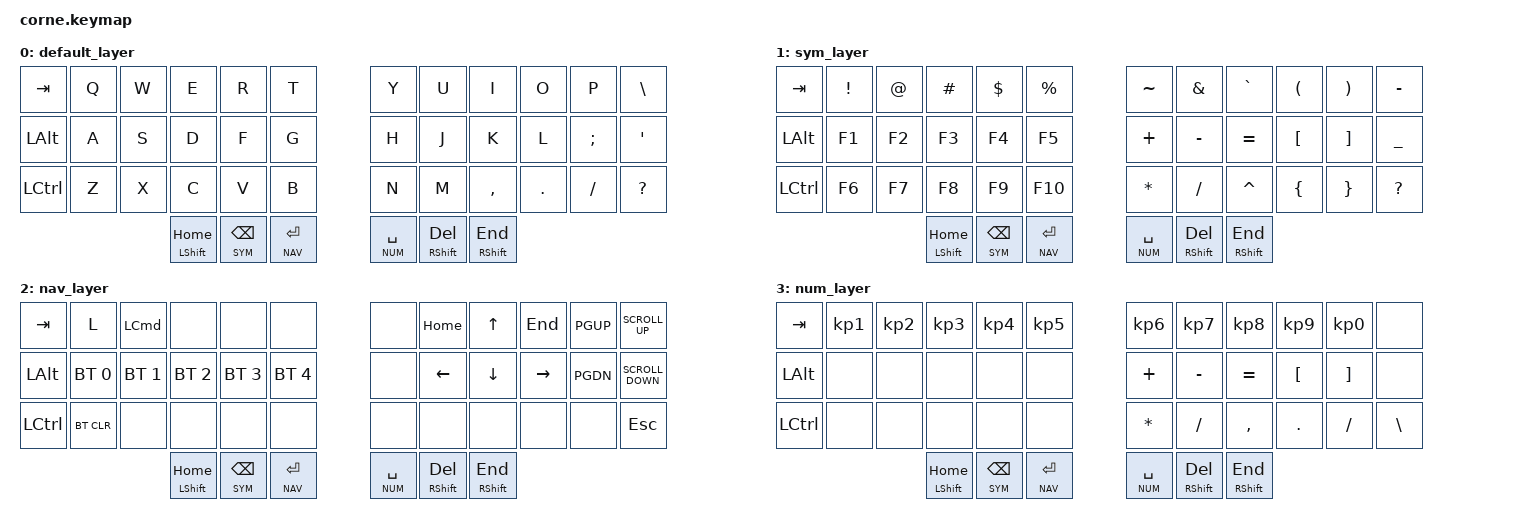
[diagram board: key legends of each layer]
/*
 * Copyright (c) 2020 The ZMK Contributors
 *
 * SPDX-License-Identifier: MIT
 */

#include <behaviors.dtsi>
#include <dt-bindings/zmk/keys.h>
#include <dt-bindings/zmk/bt.h>

// LAYERS
#define DEFAULT 0
#define SYM     1
#define NAV     2
#define NUM     3

&mt {
  tapping-term-ms = <150>;
  flavor = "tap-preferred";
};


// -----------------------------------------------------------------------------------------
// | 0  |  1   |  2   |  3   |  4   |  5  |      |  6  |  7   |  8  |  9  |  10  | 11 |
// | 12 |  13  |  14  |  15  |  16  |  17 |      |  18 |  19  |  20 |  21 |  22  | 23 |
// | 24 |  25  |  26  |  27  |  28  |  29 |      |  30 |  31  |  32 |  33 |  34  | 35 |
//                    | 36   |  37  |  38 |      |  39 |  40  |  41 |

/ {
    combos {
        compatible = "zmk,combos";
    };
};

/ {
        keymap {
                compatible = "zmk,keymap";

                default_layer {
// -----------------------------------------------------------------------------------------
// | TAB  |  Q  |  W  |  E  |  R  |  T  |   |  Y  |  U   |  I  |  O  |  P  | \ |
// | ALT  |  A  |  S  |  D  |  F  |  G  |   |  H  |  J   |  K  |  L  |  ;  |  '   |
// | CTRL |  Z  |  X  |  C  |  V  |  B  |   |  N  |  M   |  ,  |  .  |  /  | ESC  |
//                    | HOM | TAB | RET |   | SPC | BSPC | END |
                        bindings = <
   &kp TAB    &kp Q &kp W &kp E &kp R &kp T       &kp Y &kp U  &kp I     &kp O   &kp P    &kp BSLH
   &kp LALT   &kp A &kp S &kp D &kp F &kp G       &kp H &kp J  &kp K     &kp L   &kp SEMI &kp SQT
   &kp LCTRL  &kp Z &kp X &kp C &kp V &kp B       &kp N &kp M  &kp COMMA &kp DOT &kp FSLH &kp QMARK 
   &mt LSHFT HOME &lt SYM BSPC  &lt NAV RET     &lt NUM SPACE &mt RSHFT DEL &mt RSHFT END 
                        >;
                };

                sym_layer {
// -----------------------------------------------------------------------------------------
// | TAB  |  !  |  @  |  #  |  $  |  %  |   |  ~  |  &  |  `  |  (  |  )  |  -  |
// | ALT  | F1  | F2  |  F3 |  F4 |  F5 |   |  +  |  -  |  =  |  [  |  ]  |  _  |
// | CTRL | F6  | F7  |  F8 |  F9 | F10|    |  *  |  /  |  ^  |  {  |  }  | esc |
//                    | HOM | TAB | RET |   | SPC | BSPC | END |
                        bindings = <
   &kp TAB    &kp EXCL &kp AT    &kp HASH &kp DOLLAR  &kp PERCENT      &kp TILDE &kp AMPS  &kp GRAVE  &kp LPAR &kp RPAR &kp MINUS 
   &kp LALT   &kp F1   &kp F2    &kp F3   &kp F4      &kp F5           &kp PLUS  &kp MINUS &kp EQUAL  &kp LBKT &kp RBKT &kp UNDERSCORE 
   &kp LCTRL  &kp F6   &kp F7    &kp F8   &kp F9      &kp F10          &kp ASTRK &kp SLASH &kp CARET  &kp LBRC &kp RBRC &kp QMARK  
   &mt LSHFT HOME &lt SYM BSPC  &lt NAV RET     &lt NUM SPACE &mt RSHFT DEL &mt RSHFT END 
                        >;
                };

                nav_layer {
// -----------------------------------------------------------------------------------------
// | TAB  |   &bp BT_CLR   |                |              |               |                |      |  ^  |  HOME  |  UP   |  END   |  PG_UP  | SCROLL_DN |
// | ALT  |   &bt BT_SEL 0 |  &bt BT_SEL 1  | &bt BT_SEL 2 | &bt BT_SEL 3  |  &bt BT_SEL 4  |      |     |  LEFT  |  DOWN |  RIGHT |  PG_DN  | SCROLL_UP |
// | CTRL |                |                |              |               |                |      |     |        |       |        |         | ESC      |
//                    | HOM | TAB | RET |   | SPC | BSPC | END |
                        bindings = <
   &kp TAB   &kp L         &kp LCMD       &none        &none        &none           &none  &kp HOME  &kp UP   &kp END   &kp PGUP  &kp K_SCROLL_UP 
   &kp LALT  &bt BT_SEL 0  &bt BT_SEL 1   &bt BT_SEL 2 &bt BT_SEL 3 &bt BT_SEL 4    &none  &kp LEFT  &kp DOWN &kp RIGHT &kp PGDN  &kp K_SCROLL_DOWN
   &kp LCTRL &bt BT_CLR    &none          &none        &none        &none           &none  &none     &none    &none     &none     &kp ESC 
   &mt LSHFT HOME &lt SYM BSPC  &lt NAV RET                                       &lt NUM SPACE &mt RSHFT DEL &mt RSHFT END 
                        >;
                };

                num_layer {
// -----------------------------------------------------------------------------------------
// | TAB  |  1  |  2  |  3  |  4  |  5  |   |  6  |    7   |   8   |   9   |   0  |  -  |
// | ALT  |     |     |     |     |     |   |  +  |    -   |   =   |   [   |   ]  |     |
// | CTRL |     |     |     |     |     |   |  *  |    /   |   ,   |   .   |  /   |  \  |
//                    | HOM | TAB | RET |   | SPC | BSPC | END |
                        bindings = <
   &kp TAB   &kp KP_N1  &kp KP_N2 &kp KP_N3 &kp KP_N4  &kp KP_N5        &kp KP_N6  &kp KP_N7 &kp KP_N8 &kp KP_N9 &kp KP_N0 &none
   &kp LALT  &none      &none     &none     &none      &none            &kp PLUS   &kp MINUS &kp EQUAL &kp LBKT  &kp RBKT  &none  
   &kp LCTRL &none      &none     &none     &none      &none            &kp ASTRK  &kp SLASH &kp COMMA &kp DOT   &kp FSLH  &kp BSLH  
   &mt LSHFT HOME &lt SYM BSPC  &lt NAV RET                           &lt NUM SPACE &mt RSHFT DEL &mt RSHFT END 
                        >;
                };
        };
};
